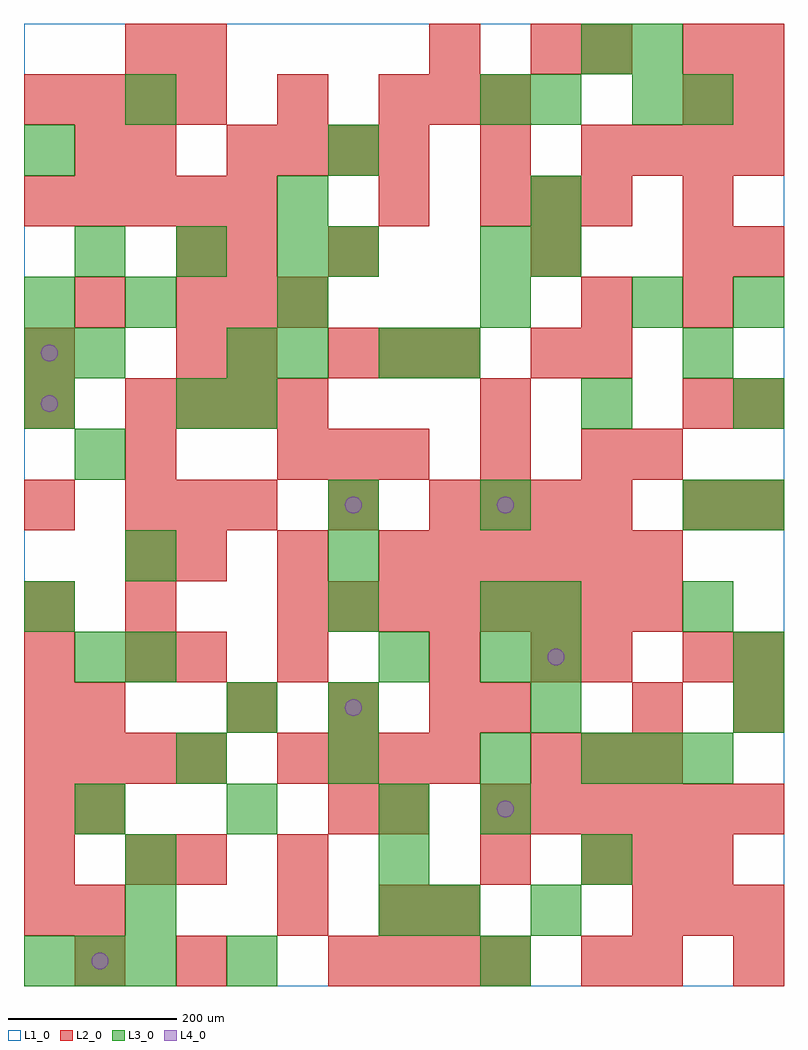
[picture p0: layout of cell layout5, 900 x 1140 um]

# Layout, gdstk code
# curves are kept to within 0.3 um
import gdstk
lib = gdstk.Library(unit=1e-6, precision=1e-09)
def R(c, l, rs):  # rectangles x0, y0, x1, y1
    for r in rs: c.add(gdstk.rectangle(r[:2], r[2:], *l))
def A(c, l, x, y, w, h, nx, ny, dx, dy):  # array of equal rectangles
    R(c, l, [(x+i*dx, y+j*dy, x+i*dx+w, y+j*dy+h) for i in range(nx) for j in range(ny)])
def P(c, l, *ps):  # polygons
    for p in ps: c.add(gdstk.Polygon(p, *l))
L1_0 = (1, 0)
L2_0 = (2, 0)
L3_0 = (3, 0)
L4_0 = (4, 0)

layout5 = lib.new_cell('layout5')
R(layout5, L1_0, [(0,0,900,1140)])
A(layout5, L2_0, 360, 0, 60, 60, 4, 1, 60, 0)
A(layout5, L2_0, 720, 0, 60, 60, 1, 3, 0, 300)
A(layout5, L2_0, 0, 60, 60, 60, 1, 3, 0, 60)
A(layout5, L2_0, 60, 60, 60, 60, 1, 3, 0, 120)
A(layout5, L2_0, 720, 60, 60, 60, 3, 1, 60, 0)
A(layout5, L2_0, 660, 120, 60, 60, 3, 1, 60, 0)
A(layout5, L2_0, 540, 180, 60, 60, 6, 1, 60, 0)
A(layout5, L2_0, 0, 240, 60, 60, 4, 2, 60, 780)
A(layout5, L2_0, 300, 240, 60, 60, 4, 1, 60, 0)
A(layout5, L2_0, 600, 240, 60, 60, 3, 1, 60, 0)
A(layout5, L2_0, 0, 300, 60, 60, 1, 3, 0, 60)
A(layout5, L2_0, 240, 300, 60, 60, 3, 1, 120, 0)
A(layout5, L2_0, 120, 360, 60, 60, 1, 3, 0, 60)
A(layout5, L2_0, 300, 420, 60, 60, 8, 1, 60, 0)
A(layout5, L2_0, 180, 480, 60, 60, 3, 1, 120, 0)
A(layout5, L2_0, 480, 480, 60, 60, 5, 1, 60, 0)
A(layout5, L2_0, 120, 540, 60, 60, 3, 1, 60, 0)
A(layout5, L2_0, 480, 540, 60, 60, 4, 1, 60, 0)
A(layout5, L2_0, 780, 540, 60, 60, 1, 3, 0, 120)
A(layout5, L2_0, 300, 600, 60, 60, 3, 1, 60, 0)
A(layout5, L2_0, 120, 660, 60, 60, 4, 1, 60, 0)
A(layout5, L2_0, 840, 660, 60, 60, 1, 3, 0, 180)
A(layout5, L2_0, 360, 720, 60, 60, 3, 1, 60, 0)
A(layout5, L2_0, 180, 780, 60, 60, 3, 1, 60, 0)
A(layout5, L2_0, 0, 900, 60, 60, 5, 1, 60, 0)
A(layout5, L2_0, 540, 900, 60, 60, 3, 1, 60, 0)
A(layout5, L2_0, 240, 960, 60, 60, 4, 1, 60, 0)
A(layout5, L2_0, 660, 960, 60, 60, 4, 1, 60, 0)
A(layout5, L2_0, 420, 1020, 60, 60, 3, 1, 60, 0)
R(layout5, L2_0, [(60,0,120,60), (180,0,240,60), (660,0,720,60), (840,0,900,60), (300,60,360,120), (420,60,480,120), (480,60,540,120), (120,120,180,180), (180,120,240,180), (300,120,360,180), (540,120,600,180), (360,180,420,240), (420,180,480,240), (540,300,600,360), (840,300,900,360), (180,360,240,420), (300,360,360,420), (480,360,540,420), (600,360,660,420), (660,360,720,420), (780,360,840,420), (840,360,900,420), (0,540,60,600), (360,540,420,600), (840,540,900,600), (120,600,180,660), (540,600,600,660), (660,600,720,660), (0,660,60,720), (540,660,600,720), (0,720,60,780), (180,720,240,780), (240,720,300,780), (600,720,660,780), (660,720,720,780), (60,780,120,840), (660,780,720,840), (180,840,240,900), (240,840,300,900), (360,840,420,900), (600,840,660,900), (780,840,840,900), (420,900,480,960), (780,900,840,960), (60,960,120,1020), (120,960,180,1020), (540,960,600,1020), (300,1020,360,1080), (780,1020,840,1080), (120,1080,180,1140), (180,1080,240,1140), (480,1080,540,1140), (600,1080,660,1140), (660,1080,720,1140), (780,1080,840,1140), (840,1080,900,1140)])
A(layout5, L3_0, 0, 0, 60, 60, 3, 1, 60, 0)
A(layout5, L3_0, 540, 0, 60, 60, 1, 3, 0, 180)
A(layout5, L3_0, 60, 180, 60, 60, 3, 1, 180, 0)
A(layout5, L3_0, 180, 240, 60, 60, 3, 1, 180, 0)
A(layout5, L3_0, 660, 240, 60, 60, 3, 1, 60, 0)
A(layout5, L3_0, 360, 300, 60, 60, 3, 1, 240, 0)
A(layout5, L3_0, 360, 420, 60, 60, 1, 3, 0, 60)
A(layout5, L3_0, 840, 540, 60, 60, 1, 3, 0, 120)
A(layout5, L3_0, 0, 660, 60, 60, 1, 3, 0, 60)
A(layout5, L3_0, 60, 840, 60, 60, 3, 1, 120, 0)
R(layout5, L3_0, [(240,0,300,60), (120,60,180,120), (420,60,480,120), (480,60,540,120), (600,60,660,120), (120,120,180,180), (420,120,480,180), (660,120,720,180), (240,300,300,360), (60,360,120,420), (120,360,180,420), (420,360,480,420), (600,360,660,420), (840,360,900,420), (0,420,60,480), (540,420,600,480), (600,420,660,480), (780,420,840,480), (120,480,180,540), (540,540,600,600), (780,540,840,600), (60,600,120,660), (180,660,240,720), (240,660,300,720), (660,660,720,720), (60,720,120,780), (240,720,300,780), (300,720,360,780), (420,720,480,780), (480,720,540,780), (780,720,840,780), (120,780,180,840), (300,780,360,840), (540,780,600,840), (720,780,780,840), (360,840,420,900), (540,840,600,900), (600,840,660,900), (300,900,360,960), (600,900,660,960), (0,960,60,1020), (360,960,420,1020), (120,1020,180,1080), (540,1020,600,1080), (600,1020,660,1080), (720,1020,780,1080), (780,1020,840,1080), (660,1080,720,1140), (720,1080,780,1140)])
P(layout5, L4_0, [(40,690),(39.239,693.827),(37.071,697.071),(33.827,699.239),(30,700),(26.173,699.239),(22.929,697.071),(20.761,693.827),(20,690),(20.761,686.173),(22.929,682.929),(26.173,680.761),(30,680),(33.827,680.761),(37.071,682.929),(39.239,686.173)],
  [(40,750),(39.239,753.827),(37.071,757.071),(33.827,759.239),(30,760),(26.173,759.239),(22.929,757.071),(20.761,753.827),(20,750),(20.761,746.173),(22.929,742.929),(26.173,740.761),(30,740),(33.827,740.761),(37.071,742.929),(39.239,746.173)],
  [(100,30),(99.239,33.827),(97.071,37.071),(93.827,39.239),(90,40),(86.173,39.239),(82.929,37.071),(80.761,33.827),(80,30),(80.761,26.173),(82.929,22.929),(86.173,20.761),(90,20),(93.827,20.761),(97.071,22.929),(99.239,26.173)],
  [(400,330),(399.239,333.827),(397.071,337.071),(393.827,339.239),(390,340),(386.173,339.239),(382.929,337.071),(380.761,333.827),(380,330),(380.761,326.173),(382.929,322.929),(386.173,320.761),(390,320),(393.827,320.761),(397.071,322.929),(399.239,326.173)],
  [(400,570),(399.239,573.827),(397.071,577.071),(393.827,579.239),(390,580),(386.173,579.239),(382.929,577.071),(380.761,573.827),(380,570),(380.761,566.173),(382.929,562.929),(386.173,560.761),(390,560),(393.827,560.761),(397.071,562.929),(399.239,566.173)],
  [(580,210),(579.239,213.827),(577.071,217.071),(573.827,219.239),(570,220),(566.173,219.239),(562.929,217.071),(560.761,213.827),(560,210),(560.761,206.173),(562.929,202.929),(566.173,200.761),(570,200),(573.827,200.761),(577.071,202.929),(579.239,206.173)],
  [(580,570),(579.239,573.827),(577.071,577.071),(573.827,579.239),(570,580),(566.173,579.239),(562.929,577.071),(560.761,573.827),(560,570),(560.761,566.173),(562.929,562.929),(566.173,560.761),(570,560),(573.827,560.761),(577.071,562.929),(579.239,566.173)],
  [(640,390),(639.239,393.827),(637.071,397.071),(633.827,399.239),(630,400),(626.173,399.239),(622.929,397.071),(620.761,393.827),(620,390),(620.761,386.173),(622.929,382.929),(626.173,380.761),(630,380),(633.827,380.761),(637.071,382.929),(639.239,386.173)])

lib.write_gds('layout5.gds')
